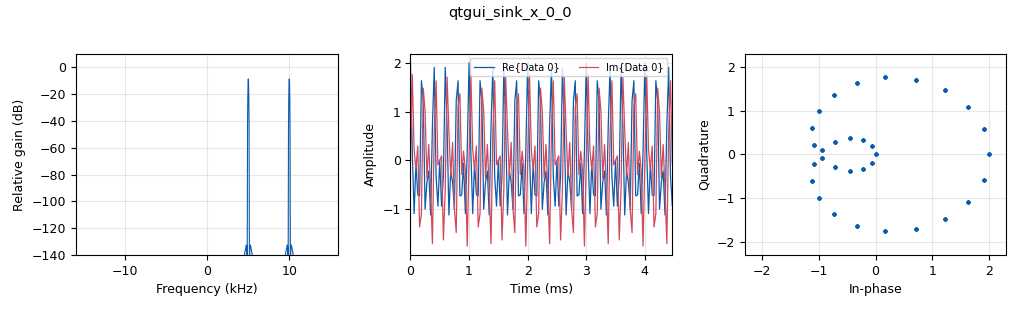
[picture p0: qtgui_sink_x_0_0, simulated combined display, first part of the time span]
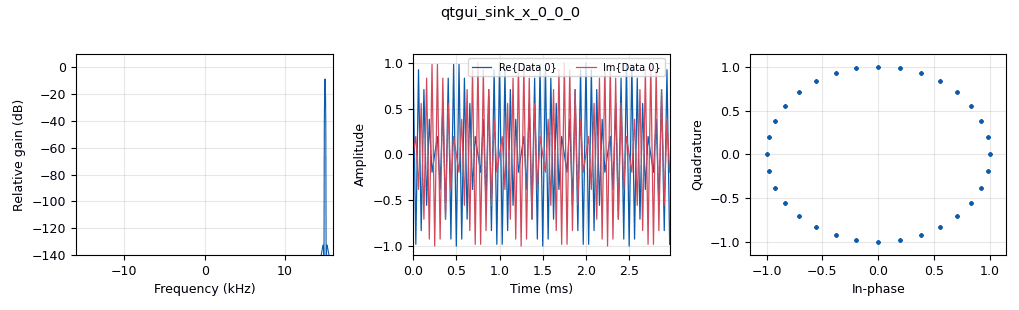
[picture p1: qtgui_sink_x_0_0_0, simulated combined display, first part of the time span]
options:
  parameters:
    generate_options: qt_gui
    id: lesson2
    output_language: python
    title: lesson2
  states: {}

blocks:
- name: samp_rate
  id: variable
  parameters:
    value: '32000'
  states: {}
- name: analog_sig_source_x_0
  id: analog_sig_source_x
  parameters:
    amp: '1'
    freq: 5e3
    offset: '0'
    phase: '0'
    samp_rate: samp_rate
    type: complex
    waveform: analog.GR_COS_WAVE
  states: {}
- name: analog_sig_source_x_0_0
  id: analog_sig_source_x
  parameters:
    amp: '1'
    freq: 10e3
    offset: '0'
    phase: '0'
    samp_rate: samp_rate
    type: complex
    waveform: analog.GR_COS_WAVE
  states: {}
- name: blocks_add_xx_0
  id: blocks_add_xx
  parameters:
    type: complex
  states: {}
- name: blocks_multiply_xx_0
  id: blocks_multiply_xx
  parameters:
    type: complex
  states: {}
- name: blocks_throttle_0
  id: blocks_throttle
  parameters:
    samples_per_second: 32e3
    type: complex
  states: {}
- name: blocks_throttle_0_0
  id: blocks_throttle
  parameters:
    samples_per_second: 32e3
    type: complex
  states: {}
- name: qtgui_sink_x_0_0
  id: qtgui_sink_x
  parameters:
    bw: samp_rate
    fc: '0'
    fftsize: '1024'
    type: complex
    wintype: firdes.WIN_BLACKMAN_hARRIS
  states: {}
- name: qtgui_sink_x_0_0_0
  id: qtgui_sink_x
  parameters:
    bw: samp_rate
    fc: '0'
    fftsize: '1024'
    type: complex
    wintype: firdes.WIN_BLACKMAN_hARRIS
  states: {}
- name: qtgui_time_sink_x_0
  id: qtgui_time_sink_x
  parameters:
    size: '128'
    srate: samp_rate
    type: complex
  states: {state: disabled}

connections:
- [analog_sig_source_x_0, '0', blocks_add_xx_0, '0']
- [analog_sig_source_x_0, '0', blocks_multiply_xx_0, '0']
- [analog_sig_source_x_0_0, '0', blocks_add_xx_0, '1']
- [analog_sig_source_x_0_0, '0', blocks_multiply_xx_0, '1']
- [blocks_add_xx_0, '0', blocks_throttle_0, '0']
- [blocks_multiply_xx_0, '0', blocks_throttle_0_0, '0']
- [blocks_throttle_0, '0', qtgui_sink_x_0_0, '0']
- [blocks_throttle_0, '0', qtgui_time_sink_x_0, '0']
- [blocks_throttle_0_0, '0', qtgui_sink_x_0_0_0, '0']

metadata:
  file_format: 1
